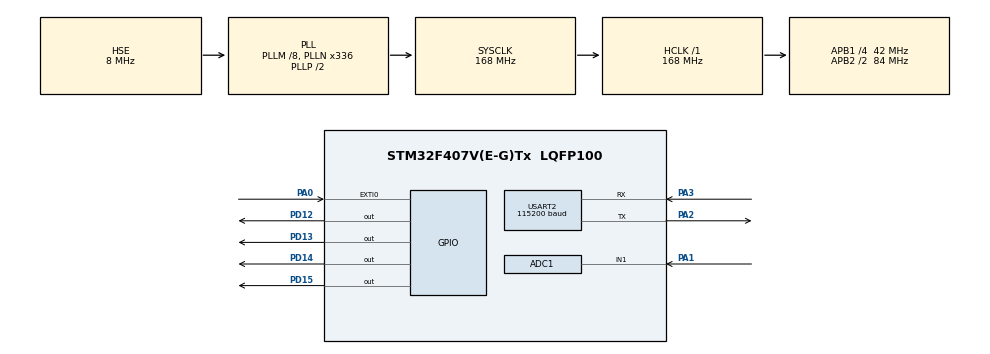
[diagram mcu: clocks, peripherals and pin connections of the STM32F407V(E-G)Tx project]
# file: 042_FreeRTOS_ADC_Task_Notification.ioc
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ADC1.Channel-0\#ChannelRegularConversion=ADC_CHANNEL_1
ADC1.ClockPrescaler=ADC_CLOCK_SYNC_PCLK_DIV8
ADC1.ContinuousConvMode=DISABLE
ADC1.EnableAnalogWatchDog=false
ADC1.InjNumberOfConversion=0
ADC1.NbrOfConversion=1
ADC1.NbrOfConversionFlag=1
ADC1.Rank-0\#ChannelRegularConversion=1
ADC1.SamplingTime-0\#ChannelRegularConversion=ADC_SAMPLETIME_480CYCLES
ADC1.master=1
FREERTOS.Tasks01=defaultTask,24,128,StartDefaultTask,Default,NULL,Dynamic,NULL,NULL
FREERTOS.configUSE_NEWLIB_REENTRANT=1
Mcu.Family=STM32F4
Mcu.Name=STM32F407V(E-G)Tx
Mcu.Package=LQFP100
NVIC.ADC_IRQn=true\:5\:0\:false\:false\:true\:true\:true\:true\:true
NVIC.EXTI0_IRQn=true\:5\:0\:false\:false\:true\:true\:true\:true\:true
NVIC.PriorityGroup=NVIC_PRIORITYGROUP_4
NVIC.TIM8_TRG_COM_TIM14_IRQn=true\:15\:0\:false\:false\:true\:false\:false\:true\:true
NVIC.TimeBase=TIM8_TRG_COM_TIM14_IRQn
NVIC.TimeBaseIP=TIM14
NVIC.USART2_IRQn=true\:5\:0\:false\:false\:true\:true\:true\:true\:true
PA0-WKUP.Signal=GPXTI0
PA1.Signal=ADCx_IN1
PA2.Mode=Asynchronous
PA2.Signal=USART2_TX
PA3.Mode=Asynchronous
PA3.Signal=USART2_RX
PD12.Signal=GPIO_Output
PD13.Signal=GPIO_Output
PD14.Signal=GPIO_Output
PD15.Signal=GPIO_Output
PH0-OSC_IN.Mode=HSE-External-Oscillator
PH0-OSC_IN.Signal=RCC_OSC_IN
PH1-OSC_OUT.Mode=HSE-External-Oscillator
PH1-OSC_OUT.Signal=RCC_OSC_OUT
ProjectManager.HeapSize=0x200
ProjectManager.StackSize=0x400
ProjectManager.TargetToolchain=STM32CubeIDE
RCC.48MHZClocksFreq_Value=48000000
RCC.AHBFreq_Value=168000000
RCC.APB1CLKDivider=RCC_HCLK_DIV4
RCC.APB1Freq_Value=42000000
RCC.APB1TimFreq_Value=84000000
RCC.APB2CLKDivider=RCC_HCLK_DIV2
RCC.APB2Freq_Value=84000000
RCC.APB2TimFreq_Value=168000000
RCC.CortexFreq_Value=168000000
RCC.HCLKFreq_Value=168000000
RCC.HSE_VALUE=8000000
RCC.HSI_VALUE=16000000
RCC.LSE_VALUE=32768
RCC.PLLM=8
RCC.PLLN=336
RCC.PLLQ=7
RCC.PLLSourceVirtual=RCC_PLLSOURCE_HSE
RCC.SYSCLKFreq_VALUE=168000000
RCC.SYSCLKSource=RCC_SYSCLKSOURCE_PLLCLK
RCC.VCOOutputFreq_Value=336000000
SH.ADCx_IN1.0=ADC1_IN1,IN1
USART2.BaudRate=115200
USART2.VirtualMode=VM_ASYNC
VP_FREERTOS_VS_CMSIS_V2.Mode=CMSIS_V2
VP_SYS_VS_tim14.Mode=TIM14
board=STM32F407G-DISC1

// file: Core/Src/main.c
/* USER CODE BEGIN Header */
/**
  ******************************************************************************
  * @file           : main.c
  * @brief          : Main program body
  ******************************************************************************
  * @attention
  *
  * Copyright (c) 2023 STMicroelectronics.
  * All rights reserved.
  *
  * This software is licensed under terms that can be found in the LICENSE file
  * in the root directory of this software component.
  * If no LICENSE file comes with this software, it is provided AS-IS.
  *
  ******************************************************************************
  */
/* USER CODE END Header */
#include "main.h"

/* USER CODE BEGIN Includes */
#include "FreeRTOS.h"
#include "task.h"
#include <stdio.h>
#include <string.h>
#include "queue.h"
#include "semphr.h"
/* USER CODE END Includes */

ADC_HandleTypeDef hadc1;

UART_HandleTypeDef huart2;

/* Definitions for defaultTask */

/* USER CODE BEGIN PV */
TaskHandle_t xADCTaskHandle_t;
/* USER CODE END PV */

void SystemClock_Config(void);
static void MX_GPIO_Init(void);
static void MX_USART2_UART_Init(void);
static void MX_ADC1_Init(void);

/* USER CODE BEGIN 0 */

void vADCTaskHandler(void *pvParameters)
{
	uint32_t ulADCValue;
	const TickType_t xTimeoutValue = pdMS_TO_TICKS(5000);
	BaseType_t xResult;
	char buffer[100];
	for(;;)
	{
		xResult = xTaskNotifyWait(0,0,&ulADCValue, xTimeoutValue);
		if(xResult == pdPASS)
		{
			sprintf(buffer, "ADC conversion completed. Value : %ld\r\n", ulADCValue);
			HAL_UART_Transmit(&huart2, (uint8_t *)buffer, strlen(buffer), HAL_MAX_DELAY);
		}
		else
		{
			sprintf(buffer, "Button wasn't pressed in last 5 second. Press the button for ADC conversion\r\n");
			HAL_UART_Transmit(&huart2, (uint8_t *)buffer, strlen(buffer), HAL_MAX_DELAY);
			HAL_GPIO_TogglePin(GPIOD, GPIO_PIN_14);
		}
		HAL_GPIO_TogglePin(GPIOD, GPIO_PIN_15);
		vTaskDelay(500);
	}
}
void HAL_ADC_ConvCpltCallback(ADC_HandleTypeDef* hadc)
{
	static uint32_t ulConversionResult;
	BaseType_t xHigherPriorityTaskWoken = pdFALSE;

	ulConversionResult = HAL_ADC_GetValue(&hadc1);
	xTaskNotifyFromISR((TaskHandle_t )xADCTaskHandle_t, ulConversionResult, eSetValueWithoutOverwrite, &xHigherPriorityTaskWoken);

	portYIELD_FROM_ISR(xHigherPriorityTaskWoken);
	HAL_GPIO_TogglePin(GPIOD, GPIO_PIN_13);
}
void HAL_GPIO_EXTI_Callback(uint16_t GPIO_Pin)
{
  if(GPIO_Pin == GPIO_PIN_0)
  {
	  HAL_ADC_Start_IT(&hadc1);
	  HAL_GPIO_TogglePin(GPIOD, GPIO_PIN_12);
  }
}
/* USER CODE END 0 */

int main(void)
{

  /* MCU Configuration--------------------------------------------------------*/

  /* Reset of all peripherals, Initializes the Flash interface and the Systick. */
  HAL_Init();

  /* Configure the system clock */
  SystemClock_Config();

  /* Initialize all configured peripherals */
  MX_GPIO_Init();
  MX_USART2_UART_Init();
  MX_ADC1_Init();
  /* USER CODE BEGIN 2 */

  xTaskCreate(vADCTaskHandler,"ADC Task",1500,NULL, 1,&xADCTaskHandle_t);
  vTaskStartScheduler();
  /* USER CODE END 2 */

  /* Init scheduler */

  /* Create the thread(s) */
  /* creation of defaultTask */

  /* Start scheduler */
  /* We should never get here as control is now taken by the scheduler */
  /* Infinite loop */
  while (1)
  {

  }
}

void SystemClock_Config(void)
{
  RCC_OscInitTypeDef RCC_OscInitStruct = {0};
  RCC_ClkInitTypeDef RCC_ClkInitStruct = {0};

  /** Configure the main internal regulator output voltage
  */
  __HAL_RCC_PWR_CLK_ENABLE();
  __HAL_PWR_VOLTAGESCALING_CONFIG(PWR_REGULATOR_VOLTAGE_SCALE1);

  /** Initializes the RCC Oscillators according to the specified parameters
  * in the RCC_OscInitTypeDef structure.
  */
  RCC_OscInitStruct.OscillatorType = RCC_OSCILLATORTYPE_HSE;
  RCC_OscInitStruct.HSEState = RCC_HSE_ON;
  RCC_OscInitStruct.PLL.PLLState = RCC_PLL_ON;
  RCC_OscInitStruct.PLL.PLLSource = RCC_PLLSOURCE_HSE;
  RCC_OscInitStruct.PLL.PLLM = 8;
  RCC_OscInitStruct.PLL.PLLN = 336;
  RCC_OscInitStruct.PLL.PLLP = RCC_PLLP_DIV2;
  RCC_OscInitStruct.PLL.PLLQ = 7;
  if (HAL_RCC_OscConfig(&RCC_OscInitStruct) != HAL_OK)
  {
    Error_Handler();
  }

  /** Initializes the CPU, AHB and APB buses clocks
  */
  RCC_ClkInitStruct.ClockType = RCC_CLOCKTYPE_HCLK|RCC_CLOCKTYPE_SYSCLK
                              |RCC_CLOCKTYPE_PCLK1|RCC_CLOCKTYPE_PCLK2;
  RCC_ClkInitStruct.SYSCLKSource = RCC_SYSCLKSOURCE_PLLCLK;
  RCC_ClkInitStruct.AHBCLKDivider = RCC_SYSCLK_DIV1;
  RCC_ClkInitStruct.APB1CLKDivider = RCC_HCLK_DIV4;
  RCC_ClkInitStruct.APB2CLKDivider = RCC_HCLK_DIV2;

  if (HAL_RCC_ClockConfig(&RCC_ClkInitStruct, FLASH_LATENCY_5) != HAL_OK)
  {
    Error_Handler();
  }
}

static void MX_ADC1_Init(void)
{

  ADC_ChannelConfTypeDef sConfig = {0};

  /** Configure the global features of the ADC (Clock, Resolution, Data Alignment and number of conversion)
  */
  hadc1.Instance = ADC1;
  hadc1.Init.ClockPrescaler = ADC_CLOCK_SYNC_PCLK_DIV8;
  hadc1.Init.Resolution = ADC_RESOLUTION_12B;
  hadc1.Init.ScanConvMode = DISABLE;
  hadc1.Init.ContinuousConvMode = DISABLE;
  hadc1.Init.DiscontinuousConvMode = DISABLE;
  hadc1.Init.ExternalTrigConvEdge = ADC_EXTERNALTRIGCONVEDGE_NONE;
  hadc1.Init.ExternalTrigConv = ADC_SOFTWARE_START;
  hadc1.Init.DataAlign = ADC_DATAALIGN_RIGHT;
  hadc1.Init.NbrOfConversion = 1;
  hadc1.Init.DMAContinuousRequests = DISABLE;
  hadc1.Init.EOCSelection = ADC_EOC_SINGLE_CONV;
  if (HAL_ADC_Init(&hadc1) != HAL_OK)
  {
    Error_Handler();
  }

  /** Configure for the selected ADC regular channel its corresponding rank in the sequencer and its sample time.
  */
  sConfig.Channel = ADC_CHANNEL_1;
  sConfig.Rank = 1;
  sConfig.SamplingTime = ADC_SAMPLETIME_480CYCLES;
  if (HAL_ADC_ConfigChannel(&hadc1, &sConfig) != HAL_OK)
  {
    Error_Handler();
  }

}

static void MX_USART2_UART_Init(void)
{

  huart2.Instance = USART2;
  huart2.Init.BaudRate = 115200;
  huart2.Init.WordLength = UART_WORDLENGTH_8B;
  huart2.Init.StopBits = UART_STOPBITS_1;
  huart2.Init.Parity = UART_PARITY_NONE;
  huart2.Init.Mode = UART_MODE_TX_RX;
  huart2.Init.HwFlowCtl = UART_HWCONTROL_NONE;
  huart2.Init.OverSampling = UART_OVERSAMPLING_16;
  if (HAL_UART_Init(&huart2) != HAL_OK)
  {
    Error_Handler();
  }

}

static void MX_GPIO_Init(void)
{
  GPIO_InitTypeDef GPIO_InitStruct = {0};

  /* GPIO Ports Clock Enable */
  __HAL_RCC_GPIOH_CLK_ENABLE();
  __HAL_RCC_GPIOA_CLK_ENABLE();
  __HAL_RCC_GPIOD_CLK_ENABLE();

  /*Configure GPIO pin Output Level */
  HAL_GPIO_WritePin(GPIOD, GPIO_PIN_12|GPIO_PIN_13|GPIO_PIN_14|GPIO_PIN_15, GPIO_PIN_RESET);

  /*Configure GPIO pin : PA0 */
  GPIO_InitStruct.Pin = GPIO_PIN_0;
  GPIO_InitStruct.Mode = GPIO_MODE_IT_RISING;
  GPIO_InitStruct.Pull = GPIO_NOPULL;
  HAL_GPIO_Init(GPIOA, &GPIO_InitStruct);

  /*Configure GPIO pins : PD12 PD13 PD14 PD15 */
  GPIO_InitStruct.Pin = GPIO_PIN_12|GPIO_PIN_13|GPIO_PIN_14|GPIO_PIN_15;
  GPIO_InitStruct.Mode = GPIO_MODE_OUTPUT_PP;
  GPIO_InitStruct.Pull = GPIO_NOPULL;
  GPIO_InitStruct.Speed = GPIO_SPEED_FREQ_LOW;
  HAL_GPIO_Init(GPIOD, &GPIO_InitStruct);

  /* EXTI interrupt init*/
  HAL_NVIC_SetPriority(EXTI0_IRQn, 5, 0);
  HAL_NVIC_EnableIRQ(EXTI0_IRQn);

}

void HAL_TIM_PeriodElapsedCallback(TIM_HandleTypeDef *htim)
{
  if (htim->Instance == TIM14) {
    HAL_IncTick();
  }
}

void Error_Handler(void)
{
  __disable_irq();
  while (1)
  {
  }
}
